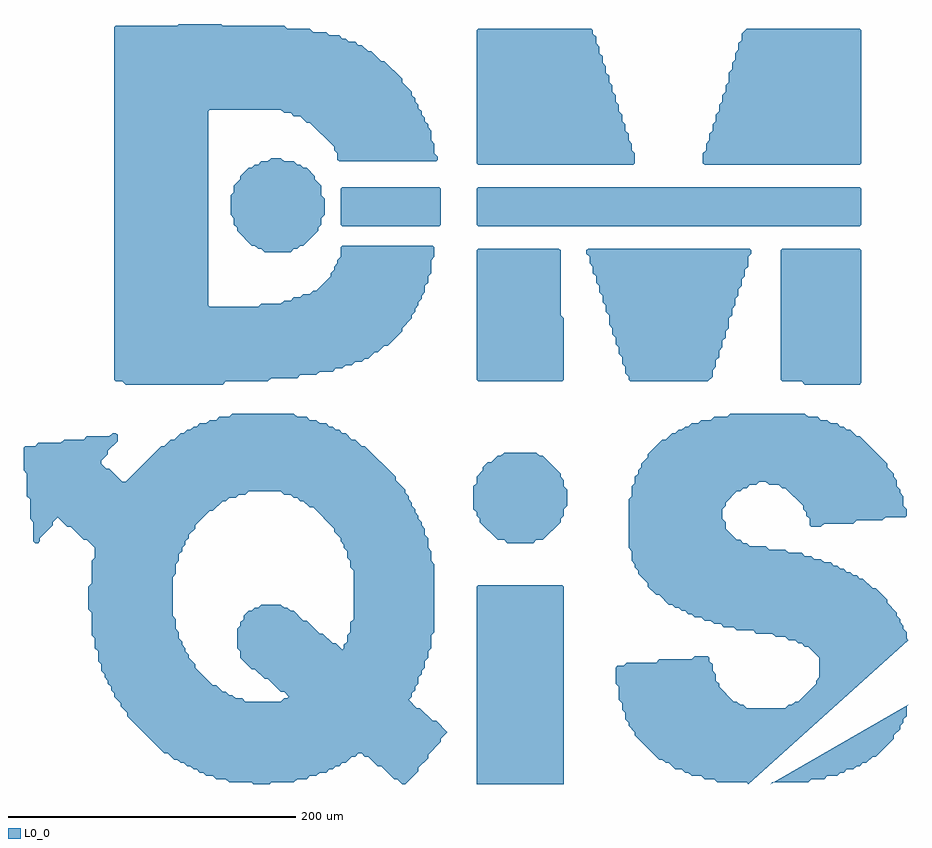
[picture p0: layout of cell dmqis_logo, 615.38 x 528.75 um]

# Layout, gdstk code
import gdstk
lib = gdstk.Library(unit=1e-6, precision=1e-09)
def P(c, l, *ps):  # polygons
    for p in ps: c.add(gdstk.Polygon(p, *l))
L0_0 = (0, 0)

dmqis_logo = lib.new_cell('dmqis_logo')
P(dmqis_logo, L0_0, [(331.513,-126),(425.188,-72),(424.063,-73.125),(424.063,-79.875),(421.813,-82.125),(421.813,-84.375),(419.563,-86.625),(419.563,-88.875),(415.063,-93.375),(415.063,-95.625),(402.688,-108),(400.438,-108),(395.938,-112.5),(393.688,-112.5),(391.438,-114.75),(389.188,-114.75),(386.938,-117),(382.438,-117),(380.188,-119.25),(377.938,-119.25),(375.688,-121.5),(368.938,-121.5),(366.688,-123.75),(357.688,-123.75),(355.438,-126)],
  [(313.813,-127.125),(312.688,-126),(292.438,-126),(290.188,-123.75),(283.438,-123.75),(281.188,-121.5),(274.438,-121.5),(272.188,-119.25),(269.938,-119.25),(267.688,-117),(263.188,-117),(258.688,-112.5),(256.438,-112.5),(254.188,-110.25),(251.938,-110.25),(235.063,-93.375),(235.063,-91.125),(230.563,-86.625),(230.563,-84.375),(228.313,-82.125),(228.313,-77.625),(226.063,-75.375),(226.063,-70.875),(223.813,-68.625),(223.813,-59.625),(221.563,-57.375),(221.563,-46.125),(222.688,-45),(227.188,-45),(229.438,-42.75),(249.688,-42.75),(251.938,-40.5),(274.438,-40.5),(276.688,-38.25),(285.688,-38.25),(286.813,-39.375),(286.813,-41.625),(289.063,-43.875),(289.063,-48.375),(291.313,-50.625),(291.313,-55.125),(293.563,-57.375),(293.563,-59.625),(303.688,-69.75),(305.938,-69.75),(308.188,-72),(310.438,-72),(312.688,-74.25),(339.688,-74.25),(341.938,-72),(344.188,-72),(346.438,-69.75),(348.688,-69.75),(361.063,-57.375),(361.063,-55.125),(363.313,-52.875),(363.313,-39.375),(355.438,-31.5),(353.188,-31.5),(350.938,-29.25),(348.688,-29.25),(346.438,-27),(341.938,-27),(339.688,-24.75),(332.938,-24.75),(330.688,-22.5),(319.438,-22.5),(317.188,-20.25),(305.938,-20.25),(303.688,-18),(296.938,-18),(294.688,-15.75),(290.188,-15.75),(287.938,-13.5),(283.438,-13.5),(281.188,-11.25),(276.688,-11.25),(274.438,-9),(272.188,-9),(269.938,-6.75),(267.688,-6.75),(265.438,-4.5),(263.188,-4.5),(260.938,-2.25),(258.688,-2.25),(251.938,4.5),(249.688,4.5),(244.063,10.125),(244.063,12.375),(237.313,19.125),(237.313,21.375),(235.063,23.625),(235.063,25.875),(232.813,28.125),(232.813,34.875),(230.563,37.125),(230.563,70.875),(232.813,73.125),(232.813,79.875),(235.063,82.125),(235.063,86.625),(237.313,88.875),(237.313,91.125),(239.563,93.375),(239.563,95.625),(244.063,100.125),(244.063,102.375),(254.188,112.5),(256.438,112.5),(260.938,117),(263.188,117),(265.438,119.25),(267.688,119.25),(269.938,121.5),(272.188,121.5),(274.438,123.75),(278.938,123.75),(281.188,126),(287.938,126),(290.188,128.25),(299.188,128.25),(301.438,130.5),(353.188,130.5),(355.438,128.25),(362.188,128.25),(364.438,126),(368.938,126),(371.188,123.75),(375.688,123.75),(377.938,121.5),(380.188,121.5),(382.438,119.25),(384.688,119.25),(389.188,114.75),(391.438,114.75),(410.563,95.625),(410.563,93.375),(415.063,88.875),(415.063,86.625),(417.313,84.375),(417.313,79.875),(419.563,77.625),(419.563,75.375),(421.813,73.125),(421.813,66.375),(424.063,64.125),(424.063,59.625),(422.938,58.5),(409.438,58.5),(407.188,56.25),(389.188,56.25),(386.938,54),(366.688,54),(364.438,51.75),(357.688,51.75),(356.563,52.875),(356.563,57.375),(354.313,59.625),(354.313,61.875),(352.063,64.125),(352.063,66.375),(339.688,78.75),(337.438,78.75),(335.188,81),(328.438,81),(326.188,83.25),(321.688,83.25),(319.438,81),(314.938,81),(312.688,78.75),(310.438,78.75),(308.188,76.5),(305.938,76.5),(298.063,68.625),(298.063,66.375),(295.813,64.125),(295.813,57.375),(298.063,55.125),(298.063,50.625),(305.938,42.75),(308.188,42.75),(310.438,40.5),(312.688,40.5),(314.938,38.25),(326.188,38.25),(328.438,36),(339.688,36),(341.938,33.75),(350.938,33.75),(353.188,31.5),(357.688,31.5),(359.938,29.25),(364.438,29.25),(366.688,27),(371.188,27),(373.438,24.75),(375.688,24.75),(377.938,22.5),(380.188,22.5),(382.438,20.25),(384.688,20.25),(386.938,18),(389.188,18),(391.438,15.75),(393.688,15.75),(400.438,9),(402.688,9),(410.563,1.125),(410.563,-1.125),(417.313,-7.875),(417.313,-10.125),(419.563,-12.375),(419.563,-14.625),(421.813,-16.875),(421.813,-19.125),(424.063,-21.375),(424.063,-25.875),(425.188,-27)],
  [(353.188,150.75),(350.938,153),(337.438,153),(336.313,154.125),(336.313,244.125),(337.438,245.25),(391.438,245.25),(392.563,244.125),(392.563,151.875),(391.438,150.75)],
  [(125.938,261),(124.813,262.125),(124.813,286.875),(125.938,288),(391.438,288),(392.563,286.875),(392.563,262.125),(391.438,261)],
  [(283.438,303.75),(282.313,304.875),(282.313,311.625),(284.563,313.875),(284.563,318.375),(286.813,320.625),(286.813,325.125),(289.063,327.375),(289.063,331.875),(291.313,334.125),(291.313,338.625),(293.563,340.875),(293.563,345.375),(295.813,347.625),(295.813,352.125),(298.063,354.375),(298.063,358.875),(300.313,361.125),(300.313,367.875),(302.563,370.125),(302.563,374.625),(304.813,376.875),(304.813,381.375),(307.063,383.625),(307.063,388.125),(309.313,390.375),(309.313,394.875),(312.688,398.25),(391.438,398.25),(392.563,397.125),(392.563,304.875),(391.438,303.75)],
  [(329.563,-127.125),(330.688,-126),(331.513,-126)],
  [(231.688,153),(230.563,154.125),(230.563,156.375),(228.313,158.625),(228.313,163.125),(226.063,165.375),(226.063,169.875),(223.813,172.125),(223.813,176.625),(221.563,178.875),(221.563,183.375),(219.313,185.625),(219.313,190.125),(217.063,192.375),(217.063,199.125),(214.813,201.375),(214.813,205.875),(212.563,208.125),(212.563,212.625),(210.313,214.875),(210.313,219.375),(208.063,221.625),(208.063,226.125),(205.813,228.375),(205.813,232.875),(203.563,235.125),(203.563,239.625),(201.313,241.875),(201.313,244.125),(202.438,245.25),(314.938,245.25),(316.063,244.125),(316.063,241.875),(313.813,239.625),(313.813,232.875),(311.563,230.625),(311.563,226.125),(309.313,223.875),(309.313,219.375),(307.063,217.125),(307.063,212.625),(304.813,210.375),(304.813,205.875),(302.563,203.625),(302.563,199.125),(300.313,196.875),(300.313,190.125),(298.063,187.875),(298.063,183.375),(295.813,181.125),(295.813,176.625),(293.563,174.375),(293.563,169.875),(291.313,167.625),(291.313,163.125),(289.063,160.875),(289.063,156.375),(285.688,153)],
  [(125.938,303.75),(124.813,304.875),(124.813,397.125),(125.938,398.25),(204.688,398.25),(205.813,397.125),(205.813,394.875),(208.063,392.625),(208.063,388.125),(210.313,385.875),(210.313,381.375),(212.563,379.125),(212.563,374.625),(214.813,372.375),(214.813,367.875),(217.063,365.625),(217.063,361.125),(219.313,358.875),(219.313,354.375),(221.563,352.125),(221.563,347.625),(223.813,345.375),(223.813,340.875),(226.063,338.625),(226.063,334.125),(228.313,331.875),(228.313,327.375),(230.563,325.125),(230.563,320.625),(232.813,318.375),(232.813,313.875),(235.063,311.625),(235.063,304.875),(233.938,303.75)],
  [(146.188,40.5),(143.938,42.75),(139.438,42.75),(127.063,55.125),(127.063,57.375),(124.813,59.625),(124.813,61.875),(122.563,64.125),(122.563,79.875),(124.813,82.125),(124.813,86.625),(129.313,91.125),(129.313,93.375),(132.688,96.75),(134.938,96.75),(139.438,101.25),(141.688,101.25),(143.938,103.5),(166.438,103.5),(168.688,101.25),(170.938,101.25),(183.313,88.875),(183.313,86.625),(185.563,84.375),(185.563,79.875),(187.813,77.625),(187.813,66.375),(185.563,64.125),(185.563,59.625),(183.313,57.375),(183.313,55.125),(170.938,42.75),(166.438,42.75),(164.188,40.5)],
  [(124.813,-127.125),(124.813,10.125),(125.938,11.25),(184.438,11.25),(185.563,10.125),(185.563,-127.125)],
  [(125.938,153),(124.813,154.125),(124.813,244.125),(125.938,245.25),(182.188,245.25),(183.313,244.125),(183.313,199.125),(185.563,196.875),(185.563,154.125),(184.438,153)],
  [(-30.438,-127.125),(-31.563,-126),(-47.313,-126),(-49.563,-123.75),(-56.313,-123.75),(-58.563,-121.5),(-63.063,-121.5),(-65.313,-119.25),(-67.563,-119.25),(-69.813,-117),(-72.063,-117),(-74.313,-114.75),(-76.563,-114.75),(-78.813,-112.5),(-81.063,-112.5),(-83.313,-110.25),(-85.563,-110.25),(-90.063,-105.75),(-92.313,-105.75),(-118.188,-79.875),(-118.188,-77.625),(-122.688,-73.125),(-122.688,-70.875),(-127.188,-66.375),(-127.188,-64.125),(-129.438,-61.875),(-129.438,-59.625),(-131.688,-57.375),(-131.688,-55.125),(-133.938,-52.875),(-133.938,-50.625),(-136.188,-48.375),(-136.188,-43.875),(-138.438,-41.625),(-138.438,-34.875),(-140.688,-32.625),(-140.688,-25.875),(-142.938,-23.625),(-142.938,-7.875),(-145.188,-5.625),(-145.188,10.125),(-142.938,12.375),(-142.938,28.125),(-140.688,30.375),(-140.688,37.125),(-146.313,42.75),(-148.563,42.75),(-157.563,51.75),(-159.813,51.75),(-166.563,58.5),(-169.938,55.125),(-169.938,52.875),(-178.938,43.875),(-178.938,41.625),(-180.063,40.5),(-182.313,40.5),(-183.438,41.625),(-183.438,55.125),(-185.688,57.375),(-185.688,70.875),(-187.938,73.125),(-187.938,88.875),(-190.188,91.125),(-190.188,106.875),(-189.063,108),(-182.313,108),(-180.063,110.25),(-164.313,110.25),(-162.063,112.5),(-148.563,112.5),(-146.313,114.75),(-130.563,114.75),(-128.313,117),(-126.063,117),(-124.938,115.875),(-124.938,111.375),(-131.688,104.625),(-131.688,102.375),(-136.188,97.875),(-136.188,95.625),(-132.813,92.25),(-130.563,92.25),(-121.563,83.25),(-119.313,83.25),(-94.563,108),(-92.313,108),(-87.813,112.5),(-85.563,112.5),(-81.063,117),(-78.813,117),(-76.563,119.25),(-74.313,119.25),(-72.063,121.5),(-69.813,121.5),(-67.563,123.75),(-63.063,123.75),(-60.813,126),(-56.313,126),(-54.063,128.25),(-47.313,128.25),(-45.063,130.5),(-2.313,130.5),(-0.063,128.25),(6.687,128.25),(8.937,126),(13.437,126),(15.687,123.75),(20.187,123.75),(22.437,121.5),(24.687,121.5),(26.937,119.25),(29.187,119.25),(31.437,117),(33.687,117),(38.187,112.5),(39.312,112.5),(39.312,21.375),(37.062,23.625),(37.062,28.125),(34.812,30.375),(34.812,34.875),(32.562,37.125),(32.562,39.375),(30.312,41.625),(30.312,43.875),(25.812,48.375),(25.812,50.625),(11.187,65.25),(8.937,65.25),(4.437,69.75),(2.187,69.75),(-0.063,72),(-2.313,72),(-4.563,74.25),(-9.063,74.25),(-11.313,76.5),(-33.813,76.5),(-36.063,74.25),(-40.563,74.25),(-42.813,72),(-47.313,72),(-49.563,69.75),(-51.813,69.75),(-58.563,63),(-60.813,63),(-70.938,52.875),(-70.938,50.625),(-75.438,46.125),(-75.438,43.875),(-77.688,41.625),(-77.688,39.375),(-79.938,37.125),(-79.938,34.875),(-82.188,32.625),(-82.188,28.125),(-84.438,25.875),(-84.438,19.125),(-86.688,16.875),(-86.688,-10.125),(-84.438,-12.375),(-84.438,-19.125),(-82.188,-21.375),(-82.188,-25.875),(-79.938,-28.125),(-79.938,-30.375),(-77.688,-32.625),(-77.688,-34.875),(-75.438,-37.125),(-75.438,-39.375),(-70.938,-43.875),(-70.938,-46.125),(-58.563,-58.5),(-56.313,-58.5),(-51.813,-63),(-49.563,-63),(-47.313,-65.25),(-45.063,-65.25),(-42.813,-67.5),(-38.313,-67.5),(-36.063,-69.75),(-11.313,-69.75),(-9.063,-67.5),(-6.813,-67.5),(-5.688,-66.375),(-9.063,-63),(-11.313,-63),(-20.313,-54),(-22.563,-54),(-29.313,-47.25),(-31.563,-47.25),(-39.438,-39.375),(-39.438,-34.875),(-41.688,-32.625),(-41.688,-19.125),(-39.438,-16.875),(-39.438,-14.625),(-37.188,-12.375),(-37.188,-10.125),(-33.813,-6.75),(-31.563,-6.75),(-29.313,-4.5),(-27.063,-4.5),(-24.813,-2.25),(-11.313,-2.25),(-9.063,-4.5),(-6.813,-4.5),(-4.563,-6.75),(-2.313,-6.75),(4.437,-13.5),(6.687,-13.5),(15.687,-22.5),(17.937,-22.5),(24.687,-29.25),(26.937,-29.25),(31.437,-33.75),(32.562,-32.625),(32.562,-30.375),(34.812,-28.125),(34.812,-23.625),(37.062,-21.375),(37.062,-14.625),(39.312,-12.375),(39.312,112.5),(40.437,112.5),(44.937,108),(47.188,108),(68.563,86.625),(68.563,84.375),(75.313,77.625),(75.313,75.375),(77.563,73.125),(77.563,70.875),(79.813,68.625),(79.813,66.375),(82.063,64.125),(82.063,61.875),(84.313,59.625),(84.313,57.375),(86.563,55.125),(86.563,52.875),(88.813,50.625),(88.813,46.125),(91.063,43.875),(91.063,37.125),(93.313,34.875),(93.313,28.125),(95.563,25.875),(95.563,-21.375),(93.313,-23.625),(93.313,-32.625),(91.063,-34.875),(91.063,-39.375),(88.813,-41.625),(88.813,-46.125),(86.563,-48.375),(86.563,-50.625),(84.313,-52.875),(84.313,-57.375),(82.063,-59.625),(82.063,-61.875),(79.813,-64.125),(79.813,-66.375),(77.563,-68.625),(83.188,-74.25),(85.438,-74.25),(94.438,-83.25),(96.688,-83.25),(104.563,-91.125),(100.063,-95.625),(100.063,-97.875),(91.063,-106.875),(91.063,-109.125),(84.313,-115.875),(84.313,-118.125),(75.313,-127.125),(73.063,-127.125),(69.688,-123.75),(67.438,-123.75),(58.438,-114.75),(56.188,-114.75),(49.438,-108),(47.188,-108),(44.937,-105.75),(42.687,-105.75),(40.437,-108),(38.187,-108),(33.687,-112.5),(31.437,-112.5),(29.187,-114.75),(26.937,-114.75),(24.687,-117),(22.437,-117),(20.187,-119.25),(15.687,-119.25),(13.437,-121.5),(8.937,-121.5),(6.687,-123.75),(-0.063,-123.75),(-2.313,-126),(-18.063,-126),(-19.188,-127.125)],
  [(31.437,261),(30.312,262.125),(30.312,286.875),(31.437,288),(98.938,288),(100.063,286.875),(100.063,262.125),(98.938,261)],
  [(-119.313,150.75),(-121.563,153),(-126.063,153),(-127.188,154.125),(-127.188,399.375),(-126.063,400.5),(-83.313,400.5),(-82.188,401.625),(-52.938,401.625),(-51.813,400.5),(-9.063,400.5),(-6.813,398.25),(8.937,398.25),(11.187,396),(20.187,396),(22.437,393.75),(29.187,393.75),(31.437,391.5),(33.687,391.5),(35.937,389.25),(40.437,389.25),(42.687,387),(44.937,387),(49.438,382.5),(51.688,382.5),(58.438,375.75),(60.688,375.75),(73.063,363.375),(73.063,361.125),(79.813,354.375),(79.813,352.125),(82.063,349.875),(82.063,347.625),(84.313,345.375),(84.313,343.125),(86.563,340.875),(86.563,338.625),(88.813,336.375),(88.813,334.125),(91.063,331.875),(91.063,329.625),(93.313,327.375),(93.313,320.625),(95.563,318.375),(95.563,311.625),(97.813,309.375),(97.813,307.125),(96.688,306),(29.187,306),(28.062,307.125),(28.062,311.625),(25.812,313.875),(25.812,316.125),(8.937,333),(6.687,333),(2.187,337.5),(-2.313,337.5),(-4.563,339.75),(-9.063,339.75),(-11.313,342),(-60.813,342),(-61.938,340.875),(-61.938,205.875),(-60.813,204.75),(-27.063,204.75),(-24.813,207),(-11.313,207),(-9.063,209.25),(-4.563,209.25),(-2.313,211.5),(2.187,211.5),(4.437,213.75),(8.937,213.75),(11.187,216),(13.437,216),(23.562,226.125),(23.562,228.375),(25.812,230.625),(25.812,232.875),(28.062,235.125),(28.062,237.375),(30.312,239.625),(30.312,246.375),(31.437,247.5),(94.438,247.5),(95.563,246.375),(95.563,239.625),(93.313,237.375),(93.313,228.375),(91.063,226.125),(91.063,221.625),(88.813,219.375),(88.813,214.875),(86.563,212.625),(86.563,210.375),(84.313,208.125),(84.313,205.875),(82.063,203.625),(82.063,201.375),(79.813,199.125),(79.813,196.875),(73.063,190.125),(73.063,187.875),(62.938,177.75),(60.688,177.75),(56.188,173.25),(53.938,173.25),(49.438,168.75),(47.188,168.75),(44.937,166.5),(40.437,166.5),(38.187,164.25),(33.687,164.25),(31.437,162),(26.937,162),(24.687,159.75),(15.687,159.75),(13.437,157.5),(2.187,157.5),(-0.063,155.25),(-18.063,155.25),(-20.313,153),(-49.563,153),(-51.813,150.75)],
  [(-22.563,243),(-24.813,245.25),(-27.063,245.25),(-29.313,247.5),(-31.563,247.5),(-41.688,257.625),(-41.688,259.875),(-43.938,262.125),(-43.938,266.625),(-46.188,268.875),(-46.188,282.375),(-43.938,284.625),(-43.938,289.125),(-39.438,293.625),(-39.438,295.875),(-33.813,301.5),(-31.563,301.5),(-29.313,303.75),(-27.063,303.75),(-24.813,306),(-20.313,306),(-18.063,308.25),(-11.313,308.25),(-9.063,306),(-2.313,306),(-0.063,303.75),(2.187,303.75),(4.437,301.5),(6.687,301.5),(12.312,295.875),(12.312,293.625),(16.812,289.125),(16.812,282.375),(19.062,280.125),(19.062,268.875),(16.812,266.625),(16.812,262.125),(14.562,259.875),(14.562,257.625),(4.437,247.5),(2.187,247.5),(-0.063,245.25),(-2.313,245.25),(-4.563,243)])

lib.write_gds('dmqis_logo.gds')
